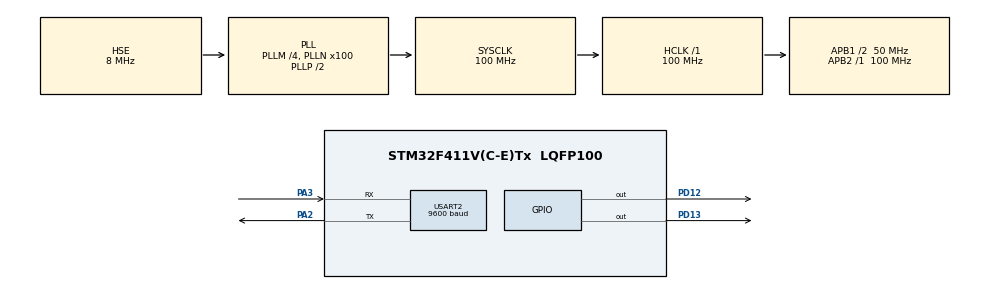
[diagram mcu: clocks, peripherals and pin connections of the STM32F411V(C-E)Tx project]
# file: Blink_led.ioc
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Mcu.Family=STM32F4
Mcu.Name=STM32F411V(C-E)Tx
Mcu.Package=LQFP100
NVIC.PriorityGroup=NVIC_PRIORITYGROUP_4
NVIC.USART2_IRQn=true\:0\:0\:false\:false\:true\:true\:true
PA2.Mode=Asynchronous
PA2.Signal=USART2_TX
PA3.Mode=Asynchronous
PA3.Signal=USART2_RX
PD12.Signal=GPIO_Output
PD13.Signal=GPIO_Output
PH0\ -\ OSC_IN.Mode=HSE-External-Oscillator
PH0\ -\ OSC_IN.Signal=RCC_OSC_IN
PH1\ -\ OSC_OUT.Mode=HSE-External-Oscillator
PH1\ -\ OSC_OUT.Signal=RCC_OSC_OUT
ProjectManager.HeapSize=0x200
ProjectManager.StackSize=0x400
ProjectManager.TargetToolchain=MDK-ARM V5
RCC.48MHZClocksFreq_Value=50000000
RCC.AHBFreq_Value=100000000
RCC.APB1CLKDivider=RCC_HCLK_DIV2
RCC.APB1Freq_Value=50000000
RCC.APB1TimFreq_Value=100000000
RCC.APB2Freq_Value=100000000
RCC.APB2TimFreq_Value=100000000
RCC.CortexFreq_Value=100000000
RCC.HCLKFreq_Value=100000000
RCC.HSE_VALUE=8000000
RCC.HSI_VALUE=16000000
RCC.LSE_VALUE=32768
RCC.PLLM=4
RCC.PLLN=100
RCC.PLLSourceVirtual=RCC_PLLSOURCE_HSE
RCC.SYSCLKFreq_VALUE=100000000
RCC.SYSCLKSource=RCC_SYSCLKSOURCE_PLLCLK
RCC.VCOOutputFreq_Value=200000000
USART2.BaudRate=9600
USART2.VirtualMode=VM_ASYNC
board=custom

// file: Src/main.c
#include "main.h"
#include "usart.h"
#include "gpio.h"

#define ADDRESS_NEW_START 0x08008000
#define MY_ADDRESS 0x08004000
void SystemClock_Config(void);
uint8_t rx_buff[8];
uint32_t data;
uint32_t address = ADDRESS_NEW_START;
uint8_t indexx=0;
void Write_flash(uint32_t* address,uint32_t *data);
uint8_t atoi8(uint8_t xx);
uint8_t state_write=0;
//uint32_t* Address_boot=(uint32_t*)0x08020000;
FLASH_EraseInitTypeDef f;
int main(void)
{
  SCB->VTOR= MY_ADDRESS;
  HAL_Init();
  SystemClock_Config();
  MX_GPIO_Init();
  MX_USART2_UART_Init();
  /* USER CODE BEGIN 2 */
	HAL_FLASH_Unlock();
	f.TypeErase= FLASH_TYPEERASE_SECTORS;
	f.Sector=2;
	f.NbSectors=1;
	f.VoltageRange=FLASH_VOLTAGE_RANGE_3;
	uint32_t sector_error=0;
	HAL_FLASHEx_Erase(&f,&sector_error);
	HAL_FLASH_Lock();
	HAL_UART_Receive_IT(&huart2,rx_buff,8);
  /* USER CODE END 2 */

  /* Infinite loop */
  while (1)
  {

		HAL_GPIO_WritePin(GPIOD,GPIO_PIN_12,GPIO_PIN_SET);
		HAL_Delay(400);
		HAL_GPIO_WritePin(GPIOD,GPIO_PIN_12,GPIO_PIN_RESET);
		HAL_Delay(400);
//		HAL_UART_Receive(&huart2,rx_buff,8,100);

  }
  /* USER CODE END 3 */
}

void SystemClock_Config(void)
{
  RCC_OscInitTypeDef RCC_OscInitStruct = {0};
  RCC_ClkInitTypeDef RCC_ClkInitStruct = {0};

  /** Configure the main internal regulator output voltage
  */
  __HAL_RCC_PWR_CLK_ENABLE();
  __HAL_PWR_VOLTAGESCALING_CONFIG(PWR_REGULATOR_VOLTAGE_SCALE1);
  /** Initializes the CPU, AHB and APB busses clocks
  */
  RCC_OscInitStruct.OscillatorType = RCC_OSCILLATORTYPE_HSE;
  RCC_OscInitStruct.HSEState = RCC_HSE_ON;
  RCC_OscInitStruct.PLL.PLLState = RCC_PLL_ON;
  RCC_OscInitStruct.PLL.PLLSource = RCC_PLLSOURCE_HSE;
  RCC_OscInitStruct.PLL.PLLM = 4;
  RCC_OscInitStruct.PLL.PLLN = 100;
  RCC_OscInitStruct.PLL.PLLP = RCC_PLLP_DIV2;
  RCC_OscInitStruct.PLL.PLLQ = 4;
  if (HAL_RCC_OscConfig(&RCC_OscInitStruct) != HAL_OK)
  {
    Error_Handler();
  }
  /** Initializes the CPU, AHB and APB busses clocks
  */
  RCC_ClkInitStruct.ClockType = RCC_CLOCKTYPE_HCLK|RCC_CLOCKTYPE_SYSCLK
                              |RCC_CLOCKTYPE_PCLK1|RCC_CLOCKTYPE_PCLK2;
  RCC_ClkInitStruct.SYSCLKSource = RCC_SYSCLKSOURCE_PLLCLK;
  RCC_ClkInitStruct.AHBCLKDivider = RCC_SYSCLK_DIV1;
  RCC_ClkInitStruct.APB1CLKDivider = RCC_HCLK_DIV2;
  RCC_ClkInitStruct.APB2CLKDivider = RCC_HCLK_DIV1;

  if (HAL_RCC_ClockConfig(&RCC_ClkInitStruct, FLASH_LATENCY_3) != HAL_OK)
  {
    Error_Handler();
  }
}

/* USER CODE BEGIN 4 */
void HAL_UART_RxCpltCallback(UART_HandleTypeDef *huart)
{
	if(huart->Instance==huart2.Instance)
	{
		HAL_UART_Receive_IT(&huart2,rx_buff,8);
		if(rx_buff[0]==83 && rx_buff[1]==83 && rx_buff[2]==83)
		{

			state_write=1;
		}
		else if(rx_buff[0]==80&&rx_buff[1]==80&&rx_buff[2]==80)
		{
			state_write=0;
			// them cho nhay boot
//			*Address_boot=(uint32_t)ADDRESS_NEW_START;
			HAL_FLASH_Unlock();

			f.TypeErase= FLASH_TYPEERASE_SECTORS;
			f.Sector=5;
			f.NbSectors=1;
			f.VoltageRange=FLASH_VOLTAGE_RANGE_3;
			uint32_t sector_error=0;
			HAL_FLASHEx_Erase(&f,&sector_error);
			HAL_FLASH_Program(FLASH_TYPEPROGRAM_WORD,0x08020000,(uint64_t)0x08008000);
			HAL_FLASH_Lock();
			NVIC_SystemReset();
		}
		else if(state_write==1)
		{
		data=0x00000000;
		data |= (uint32_t)((atoi8(rx_buff[0])<<4)|atoi8(rx_buff[1]));
	  data |= (uint32_t)((atoi8(rx_buff[2])<<4)|atoi8(rx_buff[3]))<<8;
		data |= (uint32_t)((atoi8(rx_buff[4])<<4)|atoi8(rx_buff[5]))<<16;
		data |= (uint32_t)((atoi8(rx_buff[6])<<4)|atoi8(rx_buff[7]))<<24;
		Write_flash(&address,&data);
		}
	}
}

uint8_t atoi8(uint8_t xx)
{
	if (47 <xx && xx<58)
	{
		return (xx-48);
	}
	else if( 64<xx && xx<71)
	{
			return (xx-55);
	}
	return xx;
}

void Write_flash(uint32_t* address1,uint32_t *data)
{
				HAL_FLASH_Unlock();
//			FLASH_EraseInitTypeDef f;
//			f.TypeErase= FLASH_TYPEERASE_SECTORS;
//			f.Sector= address;
//			f.NbSectors=1;
//			uint32_t sector_error=0;
//			HAL_FLASHEx_Erase(&f,&sector_error);

				HAL_FLASH_Program(FLASH_TYPEPROGRAM_WORD,*address1,*data);
				*address1+=4;
			  HAL_FLASH_Lock();
}
/* USER CODE END 4 */

void Error_Handler(void)
{
}

/************************ (C) COPYRIGHT STMicroelectronics *****END OF FILE****/
